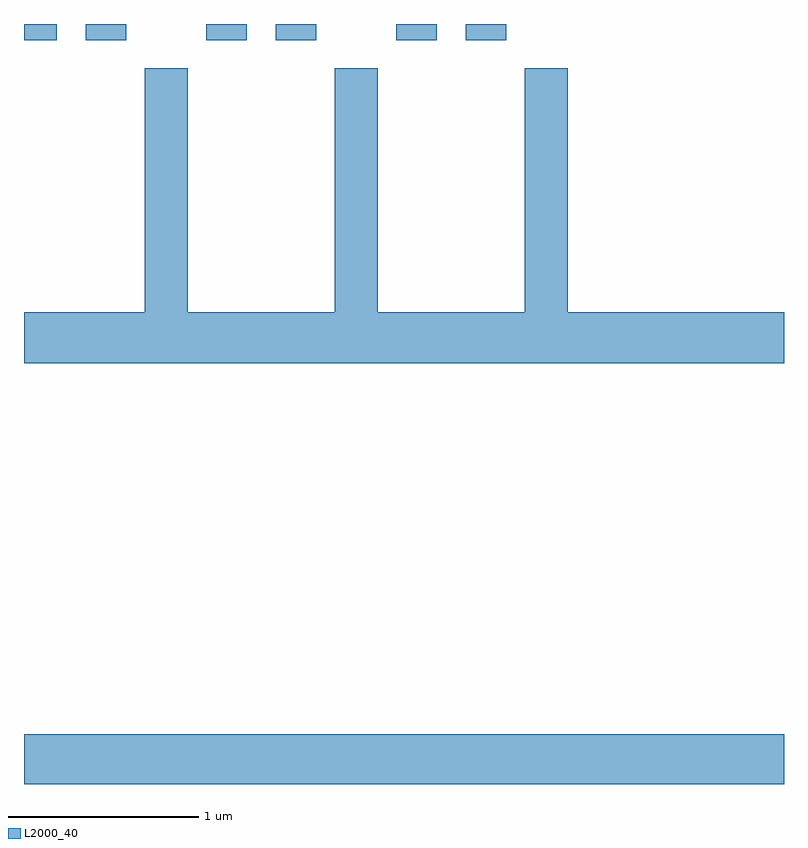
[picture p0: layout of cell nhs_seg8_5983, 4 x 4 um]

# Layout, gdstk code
import gdstk
lib = gdstk.Library(unit=1e-6, precision=1e-09)
def R(c, l, rs):  # rectangles x0, y0, x1, y1
    for r in rs: c.add(gdstk.rectangle(r[:2], r[2:], *l))
def P(c, l, *ps):  # polygons
    for p in ps: c.add(gdstk.Polygon(p, *l))
L2000_40 = (2000, 40)

nhs_seg8_5983 = lib.new_cell('nhs_seg8_5983')
R(nhs_seg8_5983, L2000_40, [(363.611,1916.342,367.611,1916.604), (363.611,1920.256,363.784,1920.342), (363.936,1920.256,364.149,1920.342), (364.571,1920.256,364.784,1920.342), (364.936,1920.256,365.149,1920.342), (365.571,1920.256,365.784,1920.342), (365.936,1920.256,366.149,1920.342)])
P(nhs_seg8_5983, L2000_40, [(367.611,1918.824),(366.474,1918.824),(366.474,1920.109),(366.246,1920.109),(366.246,1918.824),(365.474,1918.824),(365.474,1920.109),(365.246,1920.109),(365.246,1918.824),(364.474,1918.824),(364.474,1920.109),(364.246,1920.109),(364.246,1918.824),(363.611,1918.824),(363.611,1918.556),(367.611,1918.556)])

lib.write_gds('nhs_seg8_5983.gds')
